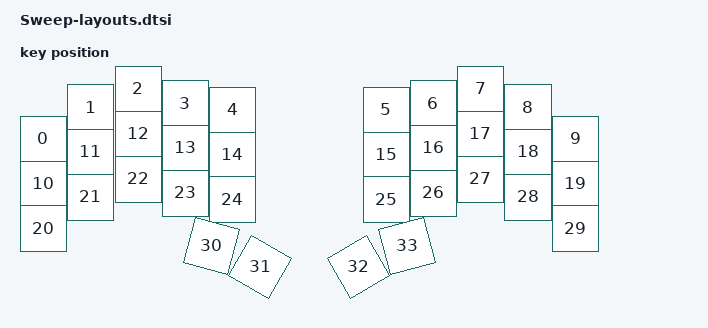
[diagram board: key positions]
#include <physical_layouts.dtsi>

/ {
    physical_layout: physical_layout_0 {
        compatible = "zmk,physical-layout";
        display-name = "Sweep";

        keys  //                     w   h    x    y     rot    rx    ry
            = <&key_physical_attrs 100 100    0  100       0     0     0>
            , <&key_physical_attrs 100 100   95   37       0     0     0>
            , <&key_physical_attrs 100 100  190    0       0     0     0>
            , <&key_physical_attrs 100 100  284   29       0     0     0>
            , <&key_physical_attrs 100 100  379   42       0     0     0>
            , <&key_physical_attrs 100 100  686   42       0     0     0>
            , <&key_physical_attrs 100 100  781   29       0     0     0>
            , <&key_physical_attrs 100 100  875    0       0     0     0>
            , <&key_physical_attrs 100 100  970   37       0     0     0>
            , <&key_physical_attrs 100 100 1065  100       0     0     0>
            , <&key_physical_attrs 100 100    0  190       0     0     0>
            , <&key_physical_attrs 100 100   95  126       0     0     0>
            , <&key_physical_attrs 100 100  190   90       0     0     0>
            , <&key_physical_attrs 100 100  284  118       0     0     0>
            , <&key_physical_attrs 100 100  379  132       0     0     0>
            , <&key_physical_attrs 100 100  686  132       0     0     0>
            , <&key_physical_attrs 100 100  781  118       0     0     0>
            , <&key_physical_attrs 100 100  875   90       0     0     0>
            , <&key_physical_attrs 100 100  970  126       0     0     0>
            , <&key_physical_attrs 100 100 1065  190       0     0     0>
            , <&key_physical_attrs 100 100    0  279       0     0     0>
            , <&key_physical_attrs 100 100   95  216       0     0     0>
            , <&key_physical_attrs 100 100  190  180       0     0     0>
            , <&key_physical_attrs 100 100  284  208       0     0     0>
            , <&key_physical_attrs 100 100  379  221       0     0     0>
            , <&key_physical_attrs 100 100  686  221       0     0     0>
            , <&key_physical_attrs 100 100  781  208       0     0     0>
            , <&key_physical_attrs 100 100  875  180       0     0     0>
            , <&key_physical_attrs 100 100  970  216       0     0     0>
            , <&key_physical_attrs 100 100 1065  279       0     0     0>
            , <&key_physical_attrs 100 100  337  314    1500   387   364>
            , <&key_physical_attrs 100 100  434  356    3000   484   406>
            , <&key_physical_attrs 100 100  631  356 (-3000)   681   406>
            , <&key_physical_attrs 100 100  728  314 (-1500)   778   364>
            ;
    };
};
